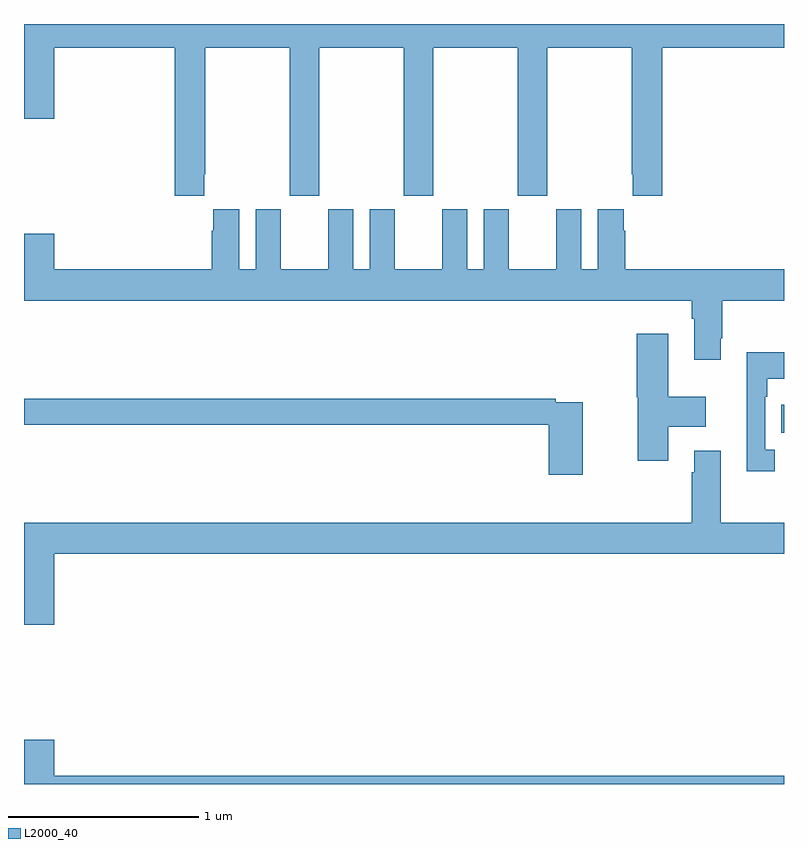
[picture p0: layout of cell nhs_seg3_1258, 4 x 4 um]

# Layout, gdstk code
import gdstk
lib = gdstk.Library(unit=1e-6, precision=1e-09)
def R(c, l, rs):  # rectangles x0, y0, x1, y1
    for r in rs: c.add(gdstk.rectangle(r[:2], r[2:], *l))
def P(c, l, *ps):  # polygons
    for p in ps: c.add(gdstk.Polygon(p, *l))
L2000_40 = (2000, 40)

nhs_seg3_1258 = lib.new_cell('nhs_seg3_1258')
R(nhs_seg3_1258, L2000_40, [(180.985,672.25,181,672.397)])
P(nhs_seg3_1258, L2000_40, [(177,673.902),(177.16,673.902),(177.16,674.276),(177.794,674.276),(177.794,673.497),(177.949,673.497),(177.949,673.609),(177.954,673.609),(177.954,674.276),(178.399,674.276),(178.399,673.497),(178.554,673.497),(178.554,674.276),(178.999,674.276),(178.999,673.497),(179.154,673.497),(179.154,674.276),(179.599,674.276),(179.599,673.497),(179.754,673.497),(179.754,674.276),(180.199,674.276),(180.199,673.609),(180.203,673.609),(180.203,673.497),(180.359,673.497),(180.359,674.276),(181,674.276),(181,674.4),(177,674.4)],
  [(180.164,673.313),(180.157,673.313),(180.157,673.426),(180.02,673.426),(180.02,673.108),(179.932,673.108),(179.932,673.426),(179.801,673.426),(179.801,673.108),(179.551,673.108),(179.551,673.426),(179.42,673.426),(179.42,673.108),(179.332,673.108),(179.332,673.426),(179.201,673.426),(179.201,673.108),(178.951,673.108),(178.951,673.426),(178.82,673.426),(178.82,673.108),(178.732,673.108),(178.732,673.426),(178.601,673.426),(178.601,673.108),(178.351,673.108),(178.351,673.426),(178.22,673.426),(178.22,673.108),(178.132,673.108),(178.132,673.426),(177.995,673.426),(177.995,673.313),(177.989,673.313),(177.989,673.108),(177.16,673.108),(177.16,673.297),(177,673.297),(177,672.944),(180.515,672.944),(180.515,672.848),(180.527,672.848),(180.527,672.633),(180.667,672.633),(180.667,672.745),(180.675,672.745),(180.675,672.944),(181,672.944),(181,673.108),(180.164,673.108)],
  [(180.391,672.281),(180.589,672.281),(180.589,672.439),(180.391,672.439),(180.391,672.769),(180.224,672.769),(180.224,672.435),(180.229,672.435),(180.229,672.102),(180.391,672.102)],
  [(180.952,672.158),(180.9,672.158),(180.9,672.437),(180.913,672.437),(180.913,672.533),(181,672.533),(181,672.673),(180.803,672.673),(180.803,672.045),(180.952,672.045)],
  [(179.94,672.408),(179.798,672.408),(179.798,672.428),(177,672.428),(177,672.292),(179.762,672.292),(179.762,672.027),(179.94,672.027)],
  [(177.16,671.612),(181,671.612),(181,671.776),(180.667,671.776),(180.667,672.154),(180.527,672.154),(180.527,672.041),(180.515,672.041),(180.515,671.776),(177,671.776),(177,671.238),(177.16,671.238)],
  [(181,670.444),(177.16,670.444),(177.16,670.633),(177,670.633),(177,670.4),(181,670.4)])

lib.write_gds('nhs_seg3_1258.gds')
